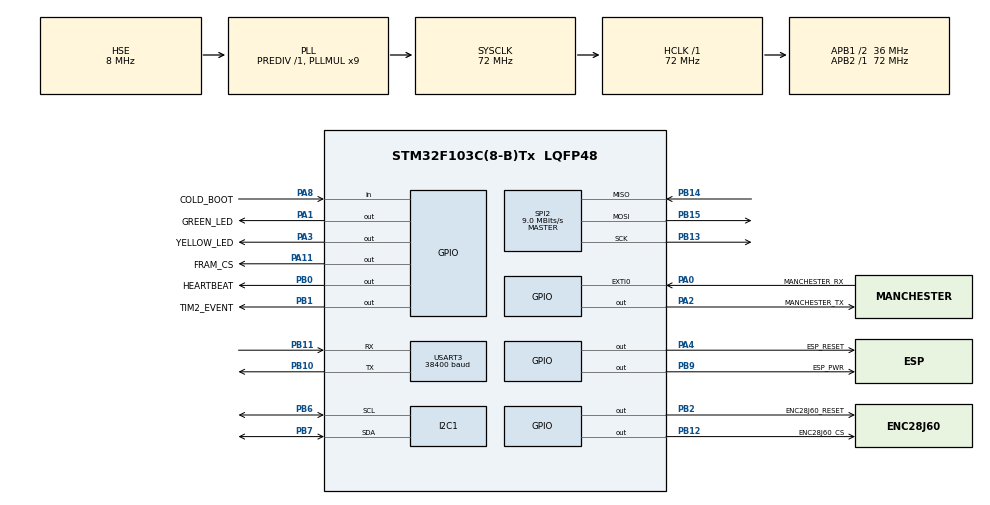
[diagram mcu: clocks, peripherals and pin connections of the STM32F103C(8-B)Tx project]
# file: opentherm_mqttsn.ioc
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ADC1.Channel-0\#ChannelRegularConversion=ADC_CHANNEL_VREFINT
ADC1.Channel-2\#ChannelRegularConversion=ADC_CHANNEL_TEMPSENSOR
ADC1.ContinuousConvMode=DISABLE
ADC1.DataAlign=ADC_DATAALIGN_RIGHT
ADC1.DiscontinuousConvMode=DISABLE
ADC1.EnableAnalogWatchDog=false
ADC1.EnableRegularConversion=ENABLE
ADC1.ExternalTrigConv=ADC_SOFTWARE_START
ADC1.InjNumberOfConversion=0
ADC1.NbrOfConversion=2
ADC1.NbrOfConversionFlag=1
ADC1.Rank-0\#ChannelRegularConversion=1
ADC1.Rank-2\#ChannelRegularConversion=2
ADC1.SamplingTime-0\#ChannelRegularConversion=ADC_SAMPLETIME_71CYCLES_5
ADC1.SamplingTime-2\#ChannelRegularConversion=ADC_SAMPLETIME_71CYCLES_5
ADC1.ScanConvMode=ADC_SCAN_ENABLE
ADC1.master=1
Dma.ADC1.4.Direction=DMA_PERIPH_TO_MEMORY
Dma.ADC1.4.Instance=DMA1_Channel1
Dma.ADC1.4.MemDataAlignment=DMA_MDATAALIGN_WORD
Dma.ADC1.4.MemInc=DMA_MINC_ENABLE
Dma.ADC1.4.Mode=DMA_NORMAL
Dma.ADC1.4.PeriphDataAlignment=DMA_PDATAALIGN_WORD
Dma.ADC1.4.PeriphInc=DMA_PINC_DISABLE
Dma.ADC1.4.Priority=DMA_PRIORITY_MEDIUM
Dma.Request0=SPI2_TX
Dma.Request1=SPI2_RX
Dma.Request2=USART3_RX
Dma.Request3=USART3_TX
Dma.Request4=ADC1
Dma.SPI2_RX.1.Direction=DMA_PERIPH_TO_MEMORY
Dma.SPI2_RX.1.Instance=DMA1_Channel4
Dma.SPI2_RX.1.MemDataAlignment=DMA_MDATAALIGN_BYTE
Dma.SPI2_RX.1.MemInc=DMA_MINC_ENABLE
Dma.SPI2_RX.1.Mode=DMA_NORMAL
Dma.SPI2_RX.1.PeriphDataAlignment=DMA_PDATAALIGN_BYTE
Dma.SPI2_RX.1.PeriphInc=DMA_PINC_DISABLE
Dma.SPI2_RX.1.Priority=DMA_PRIORITY_MEDIUM
Dma.SPI2_TX.0.Direction=DMA_MEMORY_TO_PERIPH
Dma.SPI2_TX.0.Instance=DMA1_Channel5
Dma.SPI2_TX.0.MemDataAlignment=DMA_MDATAALIGN_BYTE
Dma.SPI2_TX.0.MemInc=DMA_MINC_ENABLE
Dma.SPI2_TX.0.Mode=DMA_NORMAL
Dma.SPI2_TX.0.PeriphDataAlignment=DMA_PDATAALIGN_BYTE
Dma.SPI2_TX.0.PeriphInc=DMA_PINC_DISABLE
Dma.SPI2_TX.0.Priority=DMA_PRIORITY_MEDIUM
Dma.USART3_RX.2.Direction=DMA_PERIPH_TO_MEMORY
Dma.USART3_RX.2.Instance=DMA1_Channel3
Dma.USART3_RX.2.MemDataAlignment=DMA_MDATAALIGN_BYTE
Dma.USART3_RX.2.MemInc=DMA_MINC_ENABLE
Dma.USART3_RX.2.Mode=DMA_NORMAL
Dma.USART3_RX.2.PeriphDataAlignment=DMA_PDATAALIGN_BYTE
Dma.USART3_RX.2.PeriphInc=DMA_PINC_DISABLE
Dma.USART3_RX.2.Priority=DMA_PRIORITY_LOW
Dma.USART3_TX.3.Direction=DMA_MEMORY_TO_PERIPH
Dma.USART3_TX.3.Instance=DMA1_Channel2
Dma.USART3_TX.3.MemDataAlignment=DMA_MDATAALIGN_BYTE
Dma.USART3_TX.3.MemInc=DMA_MINC_ENABLE
Dma.USART3_TX.3.Mode=DMA_NORMAL
Dma.USART3_TX.3.PeriphDataAlignment=DMA_PDATAALIGN_BYTE
Dma.USART3_TX.3.PeriphInc=DMA_PINC_DISABLE
Dma.USART3_TX.3.Priority=DMA_PRIORITY_LOW
FREERTOS.INCLUDE_vTaskDelayUntil=1
FREERTOS.MEMORY_ALLOCATION=1
FREERTOS.Mutexes01=ETH_Mutex01,Static,ETH_Mutex01_ControlBlock
FREERTOS.Tasks01=LANPollTask,2,128,Start_LANPollTask,Default,NULL,Static,LANPollTaskBuffer,LANPollTaskControlBlock;PublishTask,0,256,Start_PublishTask,Default,NULL,Static,PublishTaskBuffer,PublishTaskControlBlock;DiagPrTask,1,200,Start_DiagPrintTask,Default,NULL,Static,DiagPrintTaskBuffer,DiagPrintTaskControlBlock;ProcSPSTask,2,128,Start_ProcSPSTask,Default,NULL,Static,ProcSPSTaskBuffer,ProcSPSTaskControlBlock;SubscrbTask,0,200,Start_SubscribeTask,Default,NULL,Static,SubscribeTaskBuffer,SubscribeTaskControlBlock;ServiceTask,0,168,Start_ServiceTask,Default,NULL,Static,ServiceTaskBuffer,ServiceTaskControlBlock;ManchTask,1,128,Start_ManchTask,Default,NULL,Static,ManchTaskBuffer,ManchTaskControlBlock
FREERTOS.configMAX_TASK_NAME_LEN=12
FREERTOS.configUSE_IDLE_HOOK=1
FREERTOS.configUSE_TICK_HOOK=1
IWDG.Prescaler=IWDG_PRESCALER_64
Mcu.Family=STM32F1
Mcu.Name=STM32F103C(8-B)Tx
Mcu.Package=LQFP48
Mcu.UserConstants=IWDG_timeout,6554
NVIC.ADC1_2_IRQn=true\:8\:0\:true\:false\:true\:false\:true
NVIC.DMA1_Channel1_IRQn=true\:0\:0\:false\:false\:true\:false\:false
NVIC.DMA1_Channel2_IRQn=true\:0\:0\:false\:false\:true\:false\:false
NVIC.DMA1_Channel3_IRQn=true\:0\:0\:false\:false\:true\:false\:false
NVIC.DMA1_Channel4_IRQn=true\:0\:0\:false\:false\:true\:false\:false
NVIC.DMA1_Channel5_IRQn=true\:0\:0\:false\:false\:true\:false\:false
NVIC.I2C1_ER_IRQn=true\:0\:0\:false\:false\:true\:false\:true
NVIC.I2C1_EV_IRQn=true\:0\:0\:false\:false\:true\:false\:true
NVIC.PriorityGroup=NVIC_PRIORITYGROUP_4
NVIC.RTC_IRQn=true\:0\:0\:false\:false\:true\:false\:true
NVIC.SPI2_IRQn=true\:1\:0\:true\:false\:true\:false\:true
NVIC.TIM1_UP_IRQn=true\:0\:0\:false\:false\:true\:false\:false
NVIC.TIM2_IRQn=true\:7\:0\:true\:false\:true\:false\:true
NVIC.TIM4_IRQn=true\:5\:0\:false\:false\:true\:true\:true
NVIC.TimeBase=TIM1_UP_IRQn
NVIC.TimeBaseIP=TIM1
NVIC.USART3_IRQn=true\:6\:0\:true\:false\:true\:false\:true
PA0-WKUP.GPIO_Label=MANCHESTER_RX
PA0-WKUP.Signal=GPXTI0
PA1.GPIO_Label=GREEN_LED
PA1.GPIO_ModeDefaultOutputPP=GPIO_MODE_OUTPUT_OD
PA1.PinState=GPIO_PIN_SET
PA1.Signal=GPIO_Output
PA11.GPIO_Label=FRAM_CS
PA11.GPIO_ModeDefaultOutputPP=GPIO_MODE_OUTPUT_PP
PA11.GPIO_Speed=GPIO_SPEED_FREQ_HIGH
PA11.PinState=GPIO_PIN_SET
PA11.Signal=GPIO_Output
PA13.Mode=Serial_Wire
PA13.Signal=SYS_JTMS-SWDIO
PA14.Mode=Serial_Wire
PA14.Signal=SYS_JTCK-SWCLK
PA2.GPIO_Label=MANCHESTER_TX
PA2.GPIO_Speed=GPIO_SPEED_FREQ_MEDIUM
PA2.Signal=GPIO_Output
PA3.GPIO_Label=YELLOW_LED
PA3.GPIO_ModeDefaultOutputPP=GPIO_MODE_OUTPUT_OD
PA3.PinState=GPIO_PIN_SET
PA3.Signal=GPIO_Output
PA4.GPIO_Label=ESP_RESET
PA4.Signal=GPIO_Output
PA8.GPIO_Label=COLD_BOOT
PA8.GPIO_PuPd=GPIO_PULLUP
PA8.Signal=GPIO_Input
PB0.GPIO_Label=HEARTBEAT
PB0.GPIO_ModeDefaultOutputPP=GPIO_MODE_OUTPUT_PP
PB0.GPIO_Speed=GPIO_SPEED_FREQ_HIGH
PB0.PinState=GPIO_PIN_RESET
PB0.Signal=GPIO_Output
PB1.GPIO_Label=TIM2_EVENT
PB1.GPIO_Speed=GPIO_SPEED_FREQ_HIGH
PB1.PinState=GPIO_PIN_RESET
PB1.Signal=GPIO_Output
PB10.Mode=Asynchronous
PB10.Signal=USART3_TX
PB11.GPIO_PuPd=GPIO_PULLUP
PB11.Mode=Asynchronous
PB11.Signal=USART3_RX
PB12.GPIO_Label=ENC28J60_CS
PB12.GPIO_ModeDefaultOutputPP=GPIO_MODE_OUTPUT_PP
PB12.GPIO_Speed=GPIO_SPEED_FREQ_MEDIUM
PB12.PinState=GPIO_PIN_SET
PB12.Signal=GPIO_Output
PB13.GPIO_Speed=GPIO_SPEED_FREQ_HIGH
PB13.Mode=Full_Duplex_Master
PB13.Signal=SPI2_SCK
PB14.GPIO_PuPd=GPIO_PULLUP
PB14.Mode=Full_Duplex_Master
PB14.Signal=SPI2_MISO
PB15.GPIO_Speed=GPIO_SPEED_FREQ_HIGH
PB15.Mode=Full_Duplex_Master
PB15.Signal=SPI2_MOSI
PB2.GPIO_Label=ENC28J60_RESET
PB2.GPIO_ModeDefaultOutputPP=GPIO_MODE_OUTPUT_PP
PB2.GPIO_Speed=GPIO_SPEED_FREQ_MEDIUM
PB2.PinState=GPIO_PIN_SET
PB2.Signal=GPIO_Output
PB6.Mode=I2C
PB6.Signal=I2C1_SCL
PB7.Mode=I2C
PB7.Signal=I2C1_SDA
PB9.GPIO_Label=ESP_PWR
PB9.PinState=GPIO_PIN_SET
PB9.Signal=GPIO_Output
PC14-OSC32_IN.Mode=LSE-External-Oscillator
PC14-OSC32_IN.Signal=RCC_OSC32_IN
PC15-OSC32_OUT.Mode=LSE-External-Oscillator
PC15-OSC32_OUT.Signal=RCC_OSC32_OUT
PD0-OSC_IN.Mode=HSE-External-Oscillator
PD0-OSC_IN.Signal=RCC_OSC_IN
PD1-OSC_OUT.Mode=HSE-External-Oscillator
PD1-OSC_OUT.Signal=RCC_OSC_OUT
ProjectManager.HeapSize=0x000
ProjectManager.StackSize=0x400
ProjectManager.TargetToolchain=Makefile
RCC.ADCPresc=RCC_ADCPCLK2_DIV6
RCC.AHBFreq_Value=72000000
RCC.APB1CLKDivider=RCC_HCLK_DIV2
RCC.APB1Freq_Value=36000000
RCC.APB1TimFreq_Value=72000000
RCC.APB2Freq_Value=72000000
RCC.APB2TimFreq_Value=72000000
RCC.HCLKFreq_Value=72000000
RCC.PLLMUL=RCC_PLL_MUL9
RCC.PLLSourceVirtual=RCC_PLLSOURCE_HSE
RCC.RCC_MCOSource=RCC_MCO1SOURCE_PLLCLK
RCC.RTCClockSelection=RCC_RTCCLKSOURCE_LSE
RCC.SYSCLKFreq_VALUE=72000000
RCC.SYSCLKSource=RCC_SYSCLKSOURCE_PLLCLK
RCC.USBFreq_Value=48000000
RCC.USBPrescaler=RCC_USBCLKSOURCE_PLL_DIV1_5
RTC.Format=RTC_FORMAT_BIN
RTC.OutPut=RTC_OUTPUTSOURCE_SECOND
SPI2.BaudRatePrescaler=SPI_BAUDRATEPRESCALER_4
SPI2.CLKPhase=SPI_PHASE_1EDGE
SPI2.CLKPolarity=SPI_POLARITY_LOW
SPI2.CalculateBaudRate=9.0 MBits/s
SPI2.Direction=SPI_DIRECTION_2LINES
SPI2.Mode=SPI_MODE_MASTER
SPI2.VirtualType=VM_MASTER
TIM2.AutoReloadPreload=TIM_AUTORELOAD_PRELOAD_ENABLE
TIM2.CounterMode=TIM_COUNTERMODE_DOWN
TIM2.Period=7031
TIM2.Prescaler=2048
TIM4.AutoReloadPreload=TIM_AUTORELOAD_PRELOAD_ENABLE
TIM4.ClockDivision=TIM_CLOCKDIVISION_DIV4
TIM4.Period=65535
TIM4.Prescaler=8
USART3.BaudRate=38400
USART3.VirtualMode=VM_ASYNC
VP_ADC1_TempSens_Input.Mode=IN-TempSens
VP_ADC1_Vref_Input.Mode=IN-Vrefint
VP_CRC_VS_CRC.Mode=CRC_Activate
VP_FREERTOS_VS_ENABLE.Mode=Enabled
VP_IWDG_VS_IWDG.Mode=IWDG_Activate
VP_RTC_VS_RTC_Activate.Mode=RTC_Enabled
VP_SYS_VS_tim1.Mode=TIM1
VP_TIM2_VS_ClockSourceINT.Mode=Internal
VP_TIM4_VS_ClockSourceINT.Mode=Internal
board=opentherm_mqttsn

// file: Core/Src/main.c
/* USER CODE BEGIN Header */
/**
  ******************************************************************************
  * @file           : main.c
  * @brief          : Main program body
  ******************************************************************************
  * This notice applies to any and all portions of this file
  * that are not between comment pairs USER CODE BEGIN and
  * USER CODE END. Other portions of this file, whether
  * inserted by the user or by software development tools
  * are owned by their respective copyright owners.
  *
  * Copyright (c) 2019 STMicroelectronics International N.V.
  * All rights reserved.
  *
  * Redistribution and use in source and binary forms, with or without
  * modification, are permitted, provided that the following conditions are met:
  *
  * 1. Redistribution of source code must retain the above copyright notice,
  *    this list of conditions and the following disclaimer.
  * 2. Redistributions in binary form must reproduce the above copyright notice,
  *    this list of conditions and the following disclaimer in the documentation
  *    and/or other materials provided with the distribution.
  * 3. Neither the name of STMicroelectronics nor the names of other
  *    contributors to this software may be used to endorse or promote products
  *    derived from this software without specific written permission.
  * 4. This software, including modifications and/or derivative works of this
  *    software, must execute solely and exclusively on microcontroller or
  *    microprocessor devices manufactured by or for STMicroelectronics.
  * 5. Redistribution and use of this software other than as permitted under
  *    this license is void and will automatically terminate your rights under
  *    this license.
  *
  * THIS SOFTWARE IS PROVIDED BY STMICROELECTRONICS AND CONTRIBUTORS "AS IS"
  * AND ANY EXPRESS, IMPLIED OR STATUTORY WARRANTIES, INCLUDING, BUT NOT
  * LIMITED TO, THE IMPLIED WARRANTIES OF MERCHANTABILITY, FITNESS FOR A
  * PARTICULAR PURPOSE AND NON-INFRINGEMENT OF THIRD PARTY INTELLECTUAL PROPERTY
  * RIGHTS ARE DISCLAIMED TO THE FULLEST EXTENT PERMITTED BY LAW. IN NO EVENT
  * SHALL STMICROELECTRONICS OR CONTRIBUTORS BE LIABLE FOR ANY DIRECT, INDIRECT,
  * INCIDENTAL, SPECIAL, EXEMPLARY, OR CONSEQUENTIAL DAMAGES (INCLUDING, BUT NOT
  * LIMITED TO, PROCUREMENT OF SUBSTITUTE GOODS OR SERVICES; LOSS OF USE, DATA,
  * OR PROFITS; OR BUSINESS INTERRUPTION) HOWEVER CAUSED AND ON ANY THEORY OF
  * LIABILITY, WHETHER IN CONTRACT, STRICT LIABILITY, OR TORT (INCLUDING
  * NEGLIGENCE OR OTHERWISE) ARISING IN ANY WAY OUT OF THE USE OF THIS SOFTWARE,
  * EVEN IF ADVISED OF THE POSSIBILITY OF SUCH DAMAGE.
  *
  ******************************************************************************
  */
/* USER CODE END Header */

#ifdef STM32F103xB

#include "main.h"
#include "cmsis_os.h"
#include "adc.h"
#include "crc.h"
#include "dma.h"
#include "i2c.h"
#include "iwdg.h"
#include "rtc.h"
#include "spi.h"
#include "tim.h"
#include "usart.h"
#include "gpio.h"

#elif STM32F303xC

#include "main.h"
#include "main.h"
#include "cmsis_os.h"
#include "adc.h"
#include "crc.h"
#include "dma.h"
#include "i2c.h"
#include "iwdg.h"
#include "rtc.h"
#include "spi.h"
#include "tim.h"
#include "usart.h"
#include "gpio.h"

#else

#error "MCU TARGET NOT DEFINED!"

#endif

/* USER CODE BEGIN Includes */

#include "startup.h"
#include "my_comm.h"
#include "logging.h"
#include "watchdog.h"

/* USER CODE END Includes */

void SystemClock_Config(void);
void MX_FREERTOS_Init(void);

int main(void)
{
	/* USER CODE BEGIN 1 */
/* fill the stack */

#if(0)
	for (size_t i = 0x200035dCU; i < 0x20003ad4U; i = i+4U) {
		*(uint32_t*)i = 0xCAFEC001U;
	}
#endif
	/* USER CODE END 1 */

	/* MCU Configuration--------------------------------------------------------*/

	/* Reset of all peripherals, Initializes the Flash interface and the Systick. */
	HAL_Init();

	/* Configure the system clock */
	SystemClock_Config();

	/* USER CODE BEGIN SysInit */

	/* save the reboot flag */
	RCC_CSR_copy = RCC->CSR;
	SET_BIT(RCC->CSR, RCC_CSR_RMVF); /* clear the reboot flags */

	/* USER CODE END SysInit */

	/* Initialize all configured peripherals */
	MX_GPIO_Init();
	MX_DMA_Init();
	MX_I2C1_Init();
	MX_SPI2_Init();
	MX_TIM4_Init();
	MX_RTC_Init();
	MX_ADC1_Init();
	MX_USART3_UART_Init();
//	MX_IWDG_Init();
	MX_CRC_Init();
	MX_TIM2_Init();
	/* USER CODE BEGIN 2 */

	log_set_mask_on(MSG_LEVEL_ALL);

	if (AppStartUp() == ERROR) {
		/* process error */
		log_xputs(MSG_LEVEL_FATAL, "AppStartUp returned error!\n");
	}
	MX_IWDG_Init();
	log_xputs(MSG_LEVEL_INFO, "Indep. watchdog initialized.\n");
	log_xputs(MSG_LEVEL_INFO, "Starting RTOS...\n");

	/* Call init function for freertos objects (in freertos.c) */
	MX_FREERTOS_Init();

	HAL_Delay(200U);
	Transmit_non_RTOS = false;
	xfunc_out = myxfunc_out_RTOS; /* diagnostic print */

	/* Start scheduler */
#ifdef MASTERBOARD
	log_set_mask_off(MSG_LEVEL_INFO);
	log_set_mask_off(MSG_LEVEL_EXT_INF);
#endif
	osKernelStart();

	/* We should never get here as control is now taken by the scheduler */

	/* Infinite loop */
	while (1) {

	}
}

#ifdef STM32F103xB
void SystemClock_Config(void)
{
	RCC_OscInitTypeDef RCC_OscInitStruct = { 0 };
	RCC_ClkInitTypeDef RCC_ClkInitStruct = { 0 };
	RCC_PeriphCLKInitTypeDef PeriphClkInit = { 0 };

	/**Initializes the CPU, AHB and APB busses clocks
  */
	RCC_OscInitStruct.OscillatorType = RCC_OSCILLATORTYPE_LSI |
					   RCC_OSCILLATORTYPE_HSE |
					   RCC_OSCILLATORTYPE_LSE;
	RCC_OscInitStruct.HSEState = RCC_HSE_ON;
	RCC_OscInitStruct.HSEPredivValue = RCC_HSE_PREDIV_DIV1;
	RCC_OscInitStruct.LSEState = RCC_LSE_ON;
	RCC_OscInitStruct.HSIState = RCC_HSI_ON;
	RCC_OscInitStruct.LSIState = RCC_LSI_ON;
	RCC_OscInitStruct.PLL.PLLState = RCC_PLL_ON;
	RCC_OscInitStruct.PLL.PLLSource = RCC_PLLSOURCE_HSE;
	RCC_OscInitStruct.PLL.PLLMUL = RCC_PLL_MUL9;
	if (HAL_RCC_OscConfig(&RCC_OscInitStruct) != HAL_OK) {
		Error_Handler();
	}
	/**Initializes the CPU, AHB and APB busses clocks
  */
	RCC_ClkInitStruct.ClockType = RCC_CLOCKTYPE_HCLK |
				      RCC_CLOCKTYPE_SYSCLK |
				      RCC_CLOCKTYPE_PCLK1 | RCC_CLOCKTYPE_PCLK2;
	RCC_ClkInitStruct.SYSCLKSource = RCC_SYSCLKSOURCE_PLLCLK;
	RCC_ClkInitStruct.AHBCLKDivider = RCC_SYSCLK_DIV1;
	RCC_ClkInitStruct.APB1CLKDivider = RCC_HCLK_DIV2;
	RCC_ClkInitStruct.APB2CLKDivider = RCC_HCLK_DIV1;

	if (HAL_RCC_ClockConfig(&RCC_ClkInitStruct, FLASH_LATENCY_2) !=
	    HAL_OK) {
		Error_Handler();
	}
	PeriphClkInit.PeriphClockSelection =
		RCC_PERIPHCLK_RTC | RCC_PERIPHCLK_ADC;
	PeriphClkInit.RTCClockSelection = RCC_RTCCLKSOURCE_LSE;
	PeriphClkInit.AdcClockSelection = RCC_ADCPCLK2_DIV6;
	if (HAL_RCCEx_PeriphCLKConfig(&PeriphClkInit) != HAL_OK) {
		Error_Handler();
	}
}
#elif STM32F303xC
void SystemClock_Config(void)
{
  RCC_OscInitTypeDef RCC_OscInitStruct = {0};
  RCC_ClkInitTypeDef RCC_ClkInitStruct = {0};
  RCC_PeriphCLKInitTypeDef PeriphClkInit = {0};

  /** Configure LSE Drive Capability
  */
  HAL_PWR_EnableBkUpAccess();
  __HAL_RCC_LSEDRIVE_CONFIG(RCC_LSEDRIVE_LOW);
  /** Initializes the CPU, AHB and APB busses clocks
  */
  RCC_OscInitStruct.OscillatorType = RCC_OSCILLATORTYPE_LSI|RCC_OSCILLATORTYPE_HSE
			      |RCC_OSCILLATORTYPE_LSE;
  RCC_OscInitStruct.HSEState = RCC_HSE_ON;
  RCC_OscInitStruct.HSEPredivValue = RCC_HSE_PREDIV_DIV1;
  RCC_OscInitStruct.LSEState = RCC_LSE_ON;
  RCC_OscInitStruct.HSIState = RCC_HSI_ON;
  RCC_OscInitStruct.LSIState = RCC_LSI_ON;
  RCC_OscInitStruct.PLL.PLLState = RCC_PLL_ON;
  RCC_OscInitStruct.PLL.PLLSource = RCC_PLLSOURCE_HSE;
  RCC_OscInitStruct.PLL.PLLMUL = RCC_PLL_MUL9;
  if (HAL_RCC_OscConfig(&RCC_OscInitStruct) != HAL_OK)
  {
    Error_Handler();
  }
  /** Initializes the CPU, AHB and APB busses clocks
  */
  RCC_ClkInitStruct.ClockType = RCC_CLOCKTYPE_HCLK|RCC_CLOCKTYPE_SYSCLK
			      |RCC_CLOCKTYPE_PCLK1|RCC_CLOCKTYPE_PCLK2;
  RCC_ClkInitStruct.SYSCLKSource = RCC_SYSCLKSOURCE_PLLCLK;
  RCC_ClkInitStruct.AHBCLKDivider = RCC_SYSCLK_DIV1;
  RCC_ClkInitStruct.APB1CLKDivider = RCC_HCLK_DIV2;
  RCC_ClkInitStruct.APB2CLKDivider = RCC_HCLK_DIV1;

  if (HAL_RCC_ClockConfig(&RCC_ClkInitStruct, FLASH_LATENCY_2) != HAL_OK)
  {
    Error_Handler();
  }
  PeriphClkInit.PeriphClockSelection = RCC_PERIPHCLK_USART3|RCC_PERIPHCLK_I2C1
			      |RCC_PERIPHCLK_RTC|RCC_PERIPHCLK_ADC12;
  PeriphClkInit.Usart3ClockSelection = RCC_USART3CLKSOURCE_PCLK1;
  PeriphClkInit.Adc12ClockSelection = RCC_ADC12PLLCLK_DIV6;
  PeriphClkInit.I2c1ClockSelection = RCC_I2C1CLKSOURCE_SYSCLK;
  PeriphClkInit.RTCClockSelection = RCC_RTCCLKSOURCE_LSE;
  if (HAL_RCCEx_PeriphCLKConfig(&PeriphClkInit) != HAL_OK)
  {
    Error_Handler();
  }
}

#endif /* #ifdef STM32F103xB */

void HAL_TIM_PeriodElapsedCallback(TIM_HandleTypeDef *htim)
{
	if (htim->Instance == TIM1) {
		HAL_IncTick();
	}
	/* USER CODE BEGIN Callback 1 */
	if (htim->Instance == TIM1) {
		if (Transmit_non_RTOS) {
			/* every millisecond */
			if (TransmitFuncRunning == false) {
				Transmit(NULL);
			}
		}
	}
	/* USER CODE END Callback 1 */
}

void Error_Handler(void)
{
}

/************************ (C) COPYRIGHT STMicroelectronics *****END OF FILE****/

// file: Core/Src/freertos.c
/* USER CODE BEGIN Header */
/**
  ******************************************************************************
  * File Name          : freertos.c
  * Description        : Code for freertos applications
  ******************************************************************************
  * This notice applies to any and all portions of this file
  * that are not between comment pairs USER CODE BEGIN and
  * USER CODE END. Other portions of this file, whether
  * inserted by the user or by software development tools
  * are owned by their respective copyright owners.
  *
  * Copyright (c) 2019 STMicroelectronics International N.V.
  * All rights reserved.
  *
  * Redistribution and use in source and binary forms, with or without
  * modification, are permitted, provided that the following conditions are met:
  *
  * 1. Redistribution of source code must retain the above copyright notice,
  *    this list of conditions and the following disclaimer.
  * 2. Redistributions in binary form must reproduce the above copyright notice,
  *    this list of conditions and the following disclaimer in the documentation
  *    and/or other materials provided with the distribution.
  * 3. Neither the name of STMicroelectronics nor the names of other
  *    contributors to this software may be used to endorse or promote products
  *    derived from this software without specific written permission.
  * 4. This software, including modifications and/or derivative works of this
  *    software, must execute solely and exclusively on microcontroller or
  *    microprocessor devices manufactured by or for STMicroelectronics.
  * 5. Redistribution and use of this software other than as permitted under
  *    this license is void and will automatically terminate your rights under
  *    this license.
  *
  * THIS SOFTWARE IS PROVIDED BY STMICROELECTRONICS AND CONTRIBUTORS "AS IS"
  * AND ANY EXPRESS, IMPLIED OR STATUTORY WARRANTIES, INCLUDING, BUT NOT
  * LIMITED TO, THE IMPLIED WARRANTIES OF MERCHANTABILITY, FITNESS FOR A
  * PARTICULAR PURPOSE AND NON-INFRINGEMENT OF THIRD PARTY INTELLECTUAL PROPERTY
  * RIGHTS ARE DISCLAIMED TO THE FULLEST EXTENT PERMITTED BY LAW. IN NO EVENT
  * SHALL STMICROELECTRONICS OR CONTRIBUTORS BE LIABLE FOR ANY DIRECT, INDIRECT,
  * INCIDENTAL, SPECIAL, EXEMPLARY, OR CONSEQUENTIAL DAMAGES (INCLUDING, BUT NOT
  * LIMITED TO, PROCUREMENT OF SUBSTITUTE GOODS OR SERVICES; LOSS OF USE, DATA,
  * OR PROFITS; OR BUSINESS INTERRUPTION) HOWEVER CAUSED AND ON ANY THEORY OF
  * LIABILITY, WHETHER IN CONTRACT, STRICT LIABILITY, OR TORT (INCLUDING
  * NEGLIGENCE OR OTHERWISE) ARISING IN ANY WAY OUT OF THE USE OF THIS SOFTWARE,
  * EVEN IF ADVISED OF THE POSSIBILITY OF SUCH DAMAGE.
  *
  ******************************************************************************
  */
/* USER CODE END Header */

#include "FreeRTOS.h"
#include "task.h"
#include "main.h"
#include "cmsis_os.h"

/* USER CODE BEGIN Includes */

#include "lan_poll_task.h"
#include "manchester_task.h"
#include "logger_task.h"
#include "service_task.h"
#ifdef MASTERBOARD
#include "publish_task.h"
#include "subscribe_task.h"
#endif
#include "opentherm_task.h"

#include "string.h"

/* USER CODE END Includes */

/* USER CODE BEGIN PD */

#define	STACK_FILLER	0xC0DAFADEU

/* USER CODE END PD */

/* USER CODE BEGIN Variables */

osMutexId FS_Mutex01Handle __attribute__((section (".ccmram")));
osStaticMutexDef_t FS_Mutex01_ControlBlock __attribute__((section (".ccmram")));

osMutexId CRC_MutexHandle __attribute__((section (".ccmram")));
osStaticMutexDef_t CRC_Mutex_ControlBlock __attribute__((section (".ccmram")));

osMutexId ManchesterTimer01MutexHandle __attribute__((section (".ccmram")));
osStaticMutexDef_t ManchesterTimer01Mutex_ControlBlock __attribute__((section (".ccmram")));

osMutexId xfunc_outMutexHandle  __attribute__((section (".ccmram")));
osStaticMutexDef_t xfunc_outMutex_ControlBlock __attribute__((section (".ccmram")));

#ifdef DEBUG
static volatile size_t LANPollTaskBuffer_depth;
#ifdef MASTERBOARD
static volatile size_t PublishTaskBuffer_depth;

#endif
static volatile size_t DiagPrintTaskBuffer_depth;

#ifdef MASTERBOARD
static volatile size_t SubscribeTaskBuffer_depth;
#endif

static volatile size_t ServiceTaskBuffer_depth;
static volatile size_t ManchTaskBuffer_depth;
static volatile size_t OpenThermTaskBuffer_depth;
#endif

/* USER CODE END Variables */
osThreadId LANPollTaskHandle __attribute__((section (".ccmram")));
uint32_t LANPollTaskBuffer[128] /*__attribute__((section (".ccmram"))) */;
osStaticThreadDef_t LANPollTaskControlBlock __attribute__((section (".ccmram")));

#ifdef MASTERBOARD
osThreadId PublishTaskHandle __attribute__((section (".ccmram")));
uint32_t PublishTaskBuffer[256] /* __attribute__((section (".ccmram"))) */;
osStaticThreadDef_t PublishTaskControlBlock __attribute__((section (".ccmram")));
#endif

osThreadId DiagPrTaskHandle  __attribute__((section (".ccmram")));
uint32_t DiagPrintTaskBuffer[200] /* __attribute__((section (".ccmram"))) */;
osStaticThreadDef_t DiagPrintTaskControlBlock __attribute__((section (".ccmram")));

#ifdef MASTERBOARD
osThreadId SubscrbTaskHandle __attribute__((section (".ccmram")));
uint32_t SubscribeTaskBuffer[256] /* __attribute__((section (".ccmram"))) */;
osStaticThreadDef_t SubscribeTaskControlBlock __attribute__((section (".ccmram")));
#endif
osThreadId ServiceTaskHandle __attribute__((section (".ccmram")));
uint32_t ServiceTaskBuffer[168] /* __attribute__((section (".ccmram"))) */;
osStaticThreadDef_t ServiceTaskControlBlock __attribute__((section (".ccmram")));

osThreadId ManchTaskHandle __attribute__((section (".ccmram")));
uint32_t ManchTaskBuffer[128] /* __attribute__((section (".ccmram"))) */;
osStaticThreadDef_t ManchTaskControlBlock __attribute__((section (".ccmram")));

osMutexId ETH_Mutex01Handle __attribute__((section (".ccmram")));
osStaticMutexDef_t ETH_Mutex01_ControlBlock __attribute__((section (".ccmram")));

/* added 29-Jun-2019 */
osThreadId OpenThermTaskHandle __attribute__((section (".ccmram")));
uint32_t OpenThermTaskBuffer[200] /* __attribute__((section (".ccmram"))) */;
osStaticThreadDef_t OpenThermTaskControlBlock __attribute__((section (".ccmram")));

void __attribute__ ((noreturn)) Start_LANPollTask(void const *argument);
#ifdef MASTERBOARD
void __attribute__ ((noreturn)) Start_PublishTask(void const *argument);
#endif
void __attribute__ ((noreturn)) Start_DiagPrintTask(void const *argument);
#ifdef MASTERBOARD
void __attribute__ ((noreturn)) Start_SubscribeTask(void const *argument);
#endif
void __attribute__ ((noreturn)) Start_ServiceTask(void const *argument);
void __attribute__ ((noreturn)) Start_ManchTask(void const *argument);

void __attribute__ ((noreturn)) Start_OpenThermTask(void const *argument);

void MX_FREERTOS_Init(void); /* (MISRA C 2004 rule 8.1) */

/* GetIdleTaskMemory prototype (linked to static allocation support) */
void vApplicationGetIdleTaskMemory(StaticTask_t **ppxIdleTaskTCBBuffer,
				   StackType_t **ppxIdleTaskStackBuffer,
				   uint32_t *pulIdleTaskStackSize);

/* Hook prototypes */
void vApplicationIdleHook(void);
void vApplicationTickHook(void);

/* USER CODE BEGIN 2 */
__weak void vApplicationIdleHook(void)
{
	/* vApplicationIdleHook() will only be called if configUSE_IDLE_HOOK is set
   to 1 in FreeRTOSConfig.h. It will be called on each iteration of the idle
   task. It is essential that code added to this hook function never attempts
   to block in any way (for example, call xQueueReceive() with a block time
   specified, or call vTaskDelay()). If the application makes use of the
   vTaskDelete() API function (as this demo application does) then it is also
   important that vApplicationIdleHook() is permitted to return to its calling
   function, because it is the responsibility of the idle task to clean up
   memory allocated by the kernel to any task that has since been deleted. */

#ifdef DEBUG
#if(0)
	uint32_t * p;
	size_t	i;

	p = LANPollTaskBuffer;
	i = 0U;
	while ((i < 128U) && (*p == STACK_FILLER)) {
		p++;
		i++;
	}
	LANPollTaskBuffer_depth = i;

	p = PublishTaskBuffer;
	i = 0U;
	while ((i < 256U) && (*p == STACK_FILLER)) {
		p++;
		i++;
	}
	PublishTaskBuffer_depth = i;

	p = DiagPrintTaskBuffer;
	i = 0U;
	while ((i < 200U) && (*p == STACK_FILLER)) {
		p++;
		i++;
	}
	DiagPrintTaskBuffer_depth = i;

	p = SubscribeTaskBuffer;
	i = 0U;
	while ((i < 256U) && (*p == STACK_FILLER)) {
		p++;
		i++;
	}
	SubscribeTaskBuffer_depth = i;

	p = ServiceTaskBuffer;
	i = 0U;
	while ((i < 168U) && (*p == STACK_FILLER)) {
		p++;
		i++;
	}
	ServiceTaskBuffer_depth = i;

	p = ManchTaskBuffer;
	i = 0U;
	while ((i < 128U) && (*p == STACK_FILLER)) {
		p++;
		i++;
	}
	ManchTaskBuffer_depth = i;

#endif
#endif

}
/* USER CODE END 2 */

/* USER CODE BEGIN 3 */
__weak void vApplicationTickHook(void)
{
	/* This function will be called by each tick interrupt if
   configUSE_TICK_HOOK is set to 1 in FreeRTOSConfig.h. User code can be
   added here, but the tick hook is called from an interrupt context, so
   code must not attempt to block, and only the interrupt safe FreeRTOS API
   functions can be used (those that end in FromISR()). */
}
/* USER CODE END 3 */

/* USER CODE BEGIN GET_IDLE_TASK_MEMORY */
static StaticTask_t xIdleTaskTCBBuffer  __attribute__((section (".ccmram")));
static StackType_t xIdleStack[configMINIMAL_STACK_SIZE];

void vApplicationGetIdleTaskMemory(StaticTask_t **ppxIdleTaskTCBBuffer,
				   StackType_t **ppxIdleTaskStackBuffer,
				   uint32_t *pulIdleTaskStackSize)
{
	*ppxIdleTaskTCBBuffer = &xIdleTaskTCBBuffer;
	*ppxIdleTaskStackBuffer = &xIdleStack[0];
	*pulIdleTaskStackSize = configMINIMAL_STACK_SIZE;
	/* place for user code */
}
/* USER CODE END GET_IDLE_TASK_MEMORY */

void MX_FREERTOS_Init(void)
{

	/* Create the mutex(es) */
	/* definition and creation of ETH_Mutex01 */
	osMutexStaticDef(ETH_Mutex01, &ETH_Mutex01_ControlBlock);
	ETH_Mutex01Handle = osMutexCreate(osMutex(ETH_Mutex01));

	/* USER CODE BEGIN RTOS_MUTEX */

	osMutexStaticDef(xfunc_outMutex, &xfunc_outMutex_ControlBlock);
	xfunc_outMutexHandle = osMutexCreate(osMutex(xfunc_outMutex));

	/* access mutex to the single simultaneous file  tiny_fs */
	osMutexStaticDef(FS_Mutex01, &FS_Mutex01_ControlBlock);
	FS_Mutex01Handle = osMutexCreate(osMutex(FS_Mutex01));

	osMutexStaticDef(CRC_Mutex, &CRC_Mutex_ControlBlock);
	CRC_MutexHandle = osMutexCreate(osMutex(CRC_Mutex));

	osMutexStaticDef(ManchesterTimer01Mutex, &ManchesterTimer01Mutex_ControlBlock);
	ManchesterTimer01MutexHandle = osMutexCreate(osMutex(ManchesterTimer01Mutex));

	/* USER CODE END RTOS_MUTEX */

	/* Create the thread(s) */
	/* definition and creation of LANPollTask */
	osThreadStaticDef(LANPollTask, Start_LANPollTask, osPriorityHigh, 0,
			  128, LANPollTaskBuffer, &LANPollTaskControlBlock);
	LANPollTaskHandle = osThreadCreate(osThread(LANPollTask), NULL);

#ifdef MASTERBOARD
	/* definition and creation of PublishTask */
	osThreadStaticDef(PublishTask, Start_PublishTask, osPriorityNormal, 0,
			  256, PublishTaskBuffer, &PublishTaskControlBlock);
	PublishTaskHandle = osThreadCreate(osThread(PublishTask), NULL);
#endif

	/* definition and creation of DiagPrTask */
	osThreadStaticDef(DiagPrTask, Start_DiagPrintTask,
			  osPriorityAboveNormal, 0, 200, DiagPrintTaskBuffer,
			  &DiagPrintTaskControlBlock);
	DiagPrTaskHandle = osThreadCreate(osThread(DiagPrTask), NULL);

#ifdef MASTERBOARD
	/* definition and creation of SubscrbTask */
	osThreadStaticDef(SubscrbTask, Start_SubscribeTask, osPriorityNormal, 0,
			  256, SubscribeTaskBuffer, &SubscribeTaskControlBlock);
	SubscrbTaskHandle = osThreadCreate(osThread(SubscrbTask), NULL);
#endif

	/* definition and creation of ServiceTask */
	osThreadStaticDef(ServiceTask, Start_ServiceTask, osPriorityNormal, 0,
			  168, ServiceTaskBuffer, &ServiceTaskControlBlock);
	ServiceTaskHandle = osThreadCreate(osThread(ServiceTask), NULL);

	/* definition and creation of ManchTask */
	osThreadStaticDef(ManchTask, Start_ManchTask, osPriorityRealtime, 0,
			  128, ManchTaskBuffer, &ManchTaskControlBlock);
	ManchTaskHandle = osThreadCreate(osThread(ManchTask), NULL);

	/* USER CODE BEGIN RTOS_THREADS */

	/* definition and creation of OpenThermTask */
	osThreadStaticDef(OpenThermTask, Start_OpenThermTask, osPriorityNormal, 0,
			  200, OpenThermTaskBuffer, &OpenThermTaskControlBlock);
	OpenThermTaskHandle = osThreadCreate(osThread(OpenThermTask), NULL);

/**
 * @todo ADD STACK DEPTH MONITOR
*/
#ifdef DEBUG
#if(0)
	uint32_t * p;
	size_t	i;

	p = LANPollTaskBuffer;
	i = 120U;
	while (i > 0U) {
		*p = STACK_FILLER;
		p++;
		i--;
	}

	p = PublishTaskBuffer;
	i = 248U;
	while (i > 0U) {
		*p = STACK_FILLER;
		p++;
		i--;
	}

	p = DiagPrintTaskBuffer;
	i = 192U;
	while (i > 0U) {
		*p = STACK_FILLER;
		p++;
		i--;
	}

	p = SubscribeTaskBuffer;
	i = 248U;
	while (i > 0U) {
		*p = STACK_FILLER;
		p++;
		i--;
	}

	p = ServiceTaskBuffer;
	i = 160U;
	while (i > 0U) {
		*p = STACK_FILLER;
		p++;
		i--;
	}

	p = ManchTaskBuffer;
	i = 120U;
	while (i > 0U) {
		*p = STACK_FILLER;
		p++;
		i--;
	}

#endif
#endif

	/* USER CODE END RTOS_THREADS */

}

void __attribute__ ((noreturn)) Start_LANPollTask(void const *argument)
{
	(void)argument;
	const TickType_t xPeriod = pdMS_TO_TICKS(2U);
	lan_poll_task_init();
	/* infinite loop */
	for (;;) {
		lan_poll_task_run();
		vTaskDelay(xPeriod);
	}
}

#ifdef MASTERBOARD
void __attribute__ ((noreturn)) Start_PublishTask(void const *argument)
{
	(void)argument;

	while (!opentherm_configured) {
		osDelay(pdMS_TO_TICKS(200U));
	}

	publish_task_init();
	/* Infinite loop */
	for (;;) {
		publish_task_run();
	}
}
#endif

void __attribute__ ((noreturn)) Start_DiagPrintTask(void const *argument)
{
	(void)argument;
	logger_task_init();
	TickType_t xLastWakeTime;
	const TickType_t xPeriod = pdMS_TO_TICKS(3);
	xLastWakeTime = xTaskGetTickCount();			/* get value only once! */

	/* Infinite loop */
	for (;;) {
		logger_task_run();
		vTaskDelayUntil(&xLastWakeTime, xPeriod);	/* wake up every 3ms */
	}
}

#ifdef MASTERBOARD
void __attribute__ ((noreturn)) Start_SubscribeTask(void const *argument)
{
	(void)argument;

	while (!opentherm_configured) {
		osDelay(pdMS_TO_TICKS(200U));
	}

	subscribe_task_init();
	/* Infinite loop */
	for (;;) {
		subscribe_task_run();
	}
}
#endif

void __attribute__ ((noreturn)) Start_ServiceTask(void const *argument)
{
	(void)argument;
	service_task_init();
	/* Infinite loop */
	for (;;) {
		service_task_run();
		osDelay(1);
	}
}

void __attribute__ ((noreturn)) Start_ManchTask(void const *argument)
{

	(void)argument;

	manchester_task_init();

	/* Infinite loop */
	for (;;) {
		manchester_task_run();
		vTaskDelay(pdMS_TO_TICKS(10U));
	}
}

void __attribute__ ((noreturn)) Start_OpenThermTask(void const *argument)
{
	(void)argument;

	opentherm_task_init();

	for (;;) {
		opentherm_task_run();
#ifndef SLAVEBOARD
		vTaskDelay(pdMS_TO_TICKS(1000U));
#endif
	}
}
/*--------------------------------- E.O.F. -----------------------------------*/
